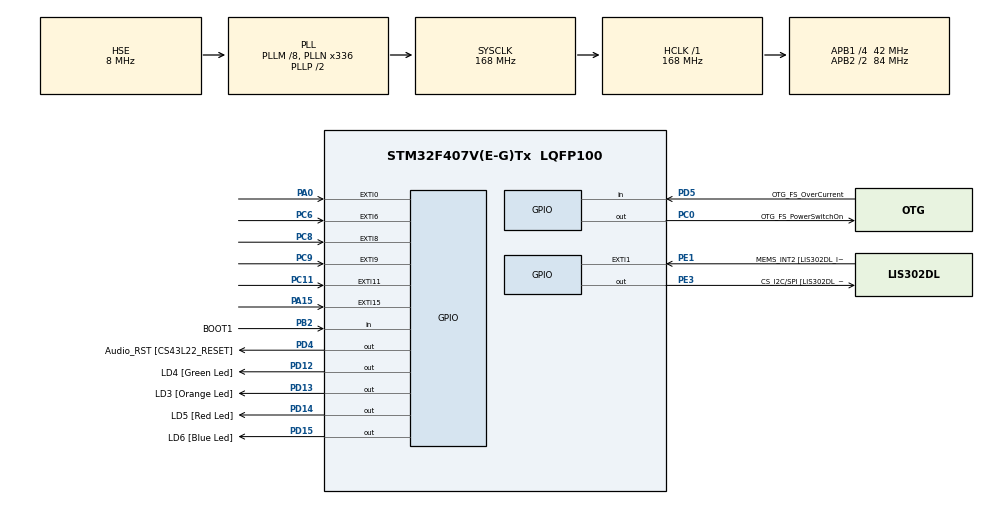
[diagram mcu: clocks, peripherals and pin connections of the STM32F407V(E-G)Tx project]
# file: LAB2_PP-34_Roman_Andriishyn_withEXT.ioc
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Mcu.Family=STM32F4
Mcu.Name=STM32F407V(E-G)Tx
Mcu.Package=LQFP100
NVIC.EXTI0_IRQn=true\:0\:0\:false\:false\:true\:true\:true\:true
NVIC.EXTI15_10_IRQn=true\:0\:0\:false\:false\:true\:true\:true\:true
NVIC.EXTI9_5_IRQn=true\:0\:0\:false\:false\:true\:true\:true\:true
NVIC.PriorityGroup=NVIC_PRIORITYGROUP_0
PA0-WKUP.Signal=GPXTI0
PA10.GPIO_Label=OTG_FS_ID
PA10.GPIO_Mode=GPIO_MODE_AF_PP
PA10.GPIO_PuPd=GPIO_NOPULL
PA10.GPIO_Speed=GPIO_SPEED_FREQ_LOW
PA10.Signal=USB_OTG_FS_ID
PA11.GPIO_Label=OTG_FS_DM
PA11.GPIO_Mode=GPIO_MODE_AF_PP
PA11.GPIO_PuPd=GPIO_NOPULL
PA11.GPIO_Speed=GPIO_SPEED_FREQ_LOW
PA11.Signal=USB_OTG_FS_DM
PA12.GPIO_Label=OTG_FS_DP
PA12.GPIO_Mode=GPIO_MODE_AF_PP
PA12.GPIO_PuPd=GPIO_NOPULL
PA12.GPIO_Speed=GPIO_SPEED_FREQ_LOW
PA12.Signal=USB_OTG_FS_DP
PA13.GPIO_Label=SWDIO
PA13.Mode=Serial_Wire
PA13.Signal=SYS_JTMS-SWDIO
PA14.GPIO_Label=SWCLK
PA14.Mode=Serial_Wire
PA14.Signal=SYS_JTCK-SWCLK
PA15.GPIO_ModeDefaultEXTI=GPIO_MODE_IT_RISING_FALLING
PA15.Signal=GPXTI15
PA4.GPIO_Label=I2S3_WS [CS43L22_LRCK]
PA4.GPIO_Mode=GPIO_MODE_AF_PP
PA4.GPIO_PuPd=GPIO_NOPULL
PA4.GPIO_Speed=GPIO_SPEED_FREQ_LOW
PA4.Signal=I2S3_WS
PA5.GPIO_Label=SPI1_SCK [LIS302DL_SCL/SPC]
PA5.GPIO_Mode=GPIO_MODE_AF_PP
PA5.GPIO_PuPd=GPIO_NOPULL
PA5.GPIO_Speed=GPIO_SPEED_FREQ_LOW
PA5.Signal=SPI1_SCK
PA6.GPIO_Label=SPI1_MISO [LIS302DL_SDO]
PA6.GPIO_Mode=GPIO_MODE_AF_PP
PA6.GPIO_PuPd=GPIO_NOPULL
PA6.GPIO_Speed=GPIO_SPEED_FREQ_LOW
PA6.Signal=SPI1_MISO
PA7.GPIO_Label=SPI1_MOSI [LIS302DL_SDA/SDI/SDO]
PA7.GPIO_Mode=GPIO_MODE_AF_PP
PA7.GPIO_PuPd=GPIO_NOPULL
PA7.GPIO_Speed=GPIO_SPEED_FREQ_LOW
PA7.Signal=SPI1_MOSI
PA9.GPIO_Label=VBUS_FS
PA9.GPIO_Mode=GPIO_MODE_INPUT
PA9.GPIO_PuPd=GPIO_NOPULL
PA9.Signal=USB_OTG_FS_VBUS
PB10.GPIO_Label=CLK_IN [MP45DT02_CLK]
PB10.GPIO_Mode=GPIO_MODE_AF_PP
PB10.GPIO_PuPd=GPIO_NOPULL
PB10.GPIO_Speed=GPIO_SPEED_FREQ_LOW
PB10.Signal=I2S2_CK
PB2.GPIO_Label=BOOT1
PB2.GPIO_Mode=GPIO_MODE_INPUT
PB2.GPIO_PuPd=GPIO_NOPULL
PB2.Signal=GPIO_Input
PB3.GPIO_Label=SWO
PB3.Signal=SYS_JTDO-SWO
PB6.GPIO_Label=Audio_SCL [CS43L22_SCL]
PB6.GPIO_Mode=GPIO_MODE_AF_OD
PB6.GPIO_PuPd=GPIO_NOPULL
PB6.GPIO_Speed=GPIO_SPEED_FREQ_LOW
PB6.Signal=I2C1_SCL
PB9.GPIO_Label=Audio_SDA [CS43L22_SDA]
PB9.GPIO_Mode=GPIO_MODE_AF_OD
PB9.GPIO_PuPd=GPIO_NOPULL
PB9.GPIO_Speed=GPIO_SPEED_FREQ_LOW
PB9.Signal=I2C1_SDA
PC0.GPIO_Label=OTG_FS_PowerSwitchOn
PC0.GPIO_PuPd=GPIO_NOPULL
PC0.GPIO_Speed=GPIO_SPEED_FREQ_LOW
PC0.PinState=GPIO_PIN_SET
PC0.Signal=GPIO_Output
PC10.GPIO_Label=I2S3_SCK [CS43L22_SCLK]
PC10.GPIO_Mode=GPIO_MODE_AF_PP
PC10.GPIO_PuPd=GPIO_NOPULL
PC10.GPIO_Speed=GPIO_SPEED_FREQ_LOW
PC10.Signal=I2S3_CK
PC11.GPIO_ModeDefaultEXTI=GPIO_MODE_IT_RISING_FALLING
PC11.Signal=GPXTI11
PC12.GPIO_Label=I2S3_SD [CS43L22_SDIN]
PC12.GPIO_Mode=GPIO_MODE_AF_PP
PC12.GPIO_PuPd=GPIO_NOPULL
PC12.GPIO_Speed=GPIO_SPEED_FREQ_LOW
PC12.Signal=I2S3_SD
PC14-OSC32_IN.GPIO_Label=PC14-OSC32_IN
PC14-OSC32_IN.Mode=LSE-External-Oscillator
PC14-OSC32_IN.Signal=RCC_OSC32_IN
PC15-OSC32_OUT.GPIO_Label=PC15-OSC32_OUT
PC15-OSC32_OUT.Mode=LSE-External-Oscillator
PC15-OSC32_OUT.Signal=RCC_OSC32_OUT
PC3.GPIO_Label=PDM_OUT [MP45DT02_DOUT]
PC3.GPIO_Mode=GPIO_MODE_AF_PP
PC3.GPIO_PuPd=GPIO_NOPULL
PC3.GPIO_Speed=GPIO_SPEED_FREQ_LOW
PC3.Signal=I2S2_SD
PC6.GPIO_ModeDefaultEXTI=GPIO_MODE_IT_RISING_FALLING
PC6.Signal=GPXTI6
PC7.GPIO_Label=I2S3_MCK [CS43L22_MCLK]
PC7.GPIO_Mode=GPIO_MODE_AF_PP
PC7.GPIO_PuPd=GPIO_NOPULL
PC7.GPIO_Speed=GPIO_SPEED_FREQ_LOW
PC7.Signal=I2S3_MCK
PC8.GPIO_ModeDefaultEXTI=GPIO_MODE_IT_RISING_FALLING
PC8.Signal=GPXTI8
PC9.GPIO_ModeDefaultEXTI=GPIO_MODE_IT_RISING_FALLING
PC9.Signal=GPXTI9
PD12.GPIO_Label=LD4 [Green Led]
PD12.GPIO_PuPd=GPIO_NOPULL
PD12.GPIO_Speed=GPIO_SPEED_FREQ_LOW
PD12.Signal=GPIO_Output
PD13.GPIO_Label=LD3 [Orange Led]
PD13.GPIO_PuPd=GPIO_NOPULL
PD13.GPIO_Speed=GPIO_SPEED_FREQ_LOW
PD13.Signal=GPIO_Output
PD14.GPIO_Label=LD5 [Red Led]
PD14.GPIO_PuPd=GPIO_NOPULL
PD14.GPIO_Speed=GPIO_SPEED_FREQ_LOW
PD14.Signal=GPIO_Output
PD15.GPIO_Label=LD6 [Blue Led]
PD15.GPIO_PuPd=GPIO_NOPULL
PD15.GPIO_Speed=GPIO_SPEED_FREQ_LOW
PD15.Signal=GPIO_Output
PD4.GPIO_Label=Audio_RST [CS43L22_RESET]
PD4.GPIO_PuPd=GPIO_NOPULL
PD4.GPIO_Speed=GPIO_SPEED_FREQ_LOW
PD4.Signal=GPIO_Output
PD5.GPIO_Label=OTG_FS_OverCurrent
PD5.GPIO_Mode=GPIO_MODE_INPUT
PD5.GPIO_PuPd=GPIO_NOPULL
PD5.Signal=GPIO_Input
PE1.GPIO_Label=MEMS_INT2 [LIS302DL_INT2]
PE1.GPIO_ModeDefaultEXTI=GPIO_MODE_EVT_RISING
PE1.GPIO_PuPd=GPIO_NOPULL
PE1.Signal=GPXTI1
PE3.GPIO_Label=CS_I2C/SPI [LIS302DL_CS_I2C/SPI]
PE3.GPIO_PuPd=GPIO_NOPULL
PE3.GPIO_Speed=GPIO_SPEED_FREQ_LOW
PE3.Signal=GPIO_Output
PH0-OSC_IN.GPIO_Label=PH0-OSC_IN
PH0-OSC_IN.Mode=HSE-External-Oscillator
PH0-OSC_IN.Signal=RCC_OSC_IN
PH1-OSC_OUT.GPIO_Label=PH1-OSC_OUT
PH1-OSC_OUT.Mode=HSE-External-Oscillator
PH1-OSC_OUT.Signal=RCC_OSC_OUT
ProjectManager.HeapSize=0x200
ProjectManager.StackSize=0x400
ProjectManager.TargetToolchain=STM32CubeIDE
RCC.48MHZClocksFreq_Value=48000000
RCC.AHBFreq_Value=168000000
RCC.APB1CLKDivider=RCC_HCLK_DIV4
RCC.APB1Freq_Value=42000000
RCC.APB1TimFreq_Value=84000000
RCC.APB2CLKDivider=RCC_HCLK_DIV2
RCC.APB2Freq_Value=84000000
RCC.APB2TimFreq_Value=168000000
RCC.CortexFreq_Value=168000000
RCC.HCLKFreq_Value=168000000
RCC.HSE_VALUE=8000000
RCC.HSI_VALUE=16000000
RCC.PLLM=8
RCC.PLLN=336
RCC.PLLQ=7
RCC.PLLSourceVirtual=RCC_PLLSOURCE_HSE
RCC.SYSCLKFreq_VALUE=168000000
RCC.SYSCLKSource=RCC_SYSCLKSOURCE_PLLCLK
RCC.VCOOutputFreq_Value=336000000
board=STM32F407G-DISC1

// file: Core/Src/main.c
/* USER CODE BEGIN Header */
/**
  ******************************************************************************
  * @file           : main.c
  * @brief          : Main program body
  ******************************************************************************
  * @attention
  *
  * Copyright (c) 2024 STMicroelectronics.
  * All rights reserved.
  *
  * This software is licensed under terms that can be found in the LICENSE file
  * in the root directory of this software component.
  * If no LICENSE file comes with this software, it is provided AS-IS.
  *
  ******************************************************************************
  */
/* USER CODE END Header */
#include "main.h"

/* USER CODE BEGIN PV */
uint8_t ledState[4] = {0, 0, 0, 0}; // Стан світлодіодів
uint8_t allLedsOn = 0; // Стан всіх світлодіодів
/* USER CODE END PV */

void SystemClock_Config(void);
static void MX_GPIO_Init(void);

int main(void)
{

  /* MCU Configuration--------------------------------------------------------*/

  /* Reset of all peripherals, Initializes the Flash interface and the Systick. */
  HAL_Init();

  /* Configure the system clock */
  SystemClock_Config();

  /* Initialize all configured peripherals */
  MX_GPIO_Init();

  /* Infinite loop */
  while (1)
  {

}
}

void SystemClock_Config(void)
{
  RCC_OscInitTypeDef RCC_OscInitStruct = {0};
  RCC_ClkInitTypeDef RCC_ClkInitStruct = {0};

  /** Configure the main internal regulator output voltage
  */
  __HAL_RCC_PWR_CLK_ENABLE();
  __HAL_PWR_VOLTAGESCALING_CONFIG(PWR_REGULATOR_VOLTAGE_SCALE1);

  /** Initializes the RCC Oscillators according to the specified parameters
  * in the RCC_OscInitTypeDef structure.
  */
  RCC_OscInitStruct.OscillatorType = RCC_OSCILLATORTYPE_HSE;
  RCC_OscInitStruct.HSEState = RCC_HSE_ON;
  RCC_OscInitStruct.PLL.PLLState = RCC_PLL_ON;
  RCC_OscInitStruct.PLL.PLLSource = RCC_PLLSOURCE_HSE;
  RCC_OscInitStruct.PLL.PLLM = 8;
  RCC_OscInitStruct.PLL.PLLN = 336;
  RCC_OscInitStruct.PLL.PLLP = RCC_PLLP_DIV2;
  RCC_OscInitStruct.PLL.PLLQ = 7;
  if (HAL_RCC_OscConfig(&RCC_OscInitStruct) != HAL_OK)
  {
    Error_Handler();
  }

  /** Initializes the CPU, AHB and APB buses clocks
  */
  RCC_ClkInitStruct.ClockType = RCC_CLOCKTYPE_HCLK|RCC_CLOCKTYPE_SYSCLK
                              |RCC_CLOCKTYPE_PCLK1|RCC_CLOCKTYPE_PCLK2;
  RCC_ClkInitStruct.SYSCLKSource = RCC_SYSCLKSOURCE_PLLCLK;
  RCC_ClkInitStruct.AHBCLKDivider = RCC_SYSCLK_DIV1;
  RCC_ClkInitStruct.APB1CLKDivider = RCC_HCLK_DIV4;
  RCC_ClkInitStruct.APB2CLKDivider = RCC_HCLK_DIV2;

  if (HAL_RCC_ClockConfig(&RCC_ClkInitStruct, FLASH_LATENCY_5) != HAL_OK)
  {
    Error_Handler();
  }
}

static void MX_GPIO_Init(void)
{
  GPIO_InitTypeDef GPIO_InitStruct = {0};

  /* GPIO Ports Clock Enable */
  __HAL_RCC_GPIOE_CLK_ENABLE();
  __HAL_RCC_GPIOC_CLK_ENABLE();
  __HAL_RCC_GPIOH_CLK_ENABLE();
  __HAL_RCC_GPIOA_CLK_ENABLE();
  __HAL_RCC_GPIOB_CLK_ENABLE();
  __HAL_RCC_GPIOD_CLK_ENABLE();

  /*Configure GPIO pin Output Level */
  HAL_GPIO_WritePin(CS_I2C_SPI_GPIO_Port, CS_I2C_SPI_Pin, GPIO_PIN_RESET);

  /*Configure GPIO pin Output Level */
  HAL_GPIO_WritePin(OTG_FS_PowerSwitchOn_GPIO_Port, OTG_FS_PowerSwitchOn_Pin, GPIO_PIN_SET);

  /*Configure GPIO pin Output Level */
  HAL_GPIO_WritePin(GPIOD, LD4_Pin|LD3_Pin|LD5_Pin|LD6_Pin
                          |Audio_RST_Pin, GPIO_PIN_RESET);

  /*Configure GPIO pin : CS_I2C_SPI_Pin */
  GPIO_InitStruct.Pin = CS_I2C_SPI_Pin;
  GPIO_InitStruct.Mode = GPIO_MODE_OUTPUT_PP;
  GPIO_InitStruct.Pull = GPIO_NOPULL;
  GPIO_InitStruct.Speed = GPIO_SPEED_FREQ_LOW;
  HAL_GPIO_Init(CS_I2C_SPI_GPIO_Port, &GPIO_InitStruct);

  /*Configure GPIO pin : OTG_FS_PowerSwitchOn_Pin */
  GPIO_InitStruct.Pin = OTG_FS_PowerSwitchOn_Pin;
  GPIO_InitStruct.Mode = GPIO_MODE_OUTPUT_PP;
  GPIO_InitStruct.Pull = GPIO_NOPULL;
  GPIO_InitStruct.Speed = GPIO_SPEED_FREQ_LOW;
  HAL_GPIO_Init(OTG_FS_PowerSwitchOn_GPIO_Port, &GPIO_InitStruct);

  /*Configure GPIO pin : PDM_OUT_Pin */
  GPIO_InitStruct.Pin = PDM_OUT_Pin;
  GPIO_InitStruct.Mode = GPIO_MODE_AF_PP;
  GPIO_InitStruct.Pull = GPIO_NOPULL;
  GPIO_InitStruct.Speed = GPIO_SPEED_FREQ_LOW;
  GPIO_InitStruct.Alternate = GPIO_AF5_SPI2;
  HAL_GPIO_Init(PDM_OUT_GPIO_Port, &GPIO_InitStruct);

  /*Configure GPIO pin : PA0 */
  GPIO_InitStruct.Pin = GPIO_PIN_0;
  GPIO_InitStruct.Mode = GPIO_MODE_IT_RISING;
  GPIO_InitStruct.Pull = GPIO_NOPULL;
  HAL_GPIO_Init(GPIOA, &GPIO_InitStruct);

  /*Configure GPIO pin : I2S3_WS_Pin */
  GPIO_InitStruct.Pin = I2S3_WS_Pin;
  GPIO_InitStruct.Mode = GPIO_MODE_AF_PP;
  GPIO_InitStruct.Pull = GPIO_NOPULL;
  GPIO_InitStruct.Speed = GPIO_SPEED_FREQ_LOW;
  GPIO_InitStruct.Alternate = GPIO_AF6_SPI3;
  HAL_GPIO_Init(I2S3_WS_GPIO_Port, &GPIO_InitStruct);

  /*Configure GPIO pins : SPI1_SCK_Pin SPI1_MISO_Pin SPI1_MOSI_Pin */
  GPIO_InitStruct.Pin = SPI1_SCK_Pin|SPI1_MISO_Pin|SPI1_MOSI_Pin;
  GPIO_InitStruct.Mode = GPIO_MODE_AF_PP;
  GPIO_InitStruct.Pull = GPIO_NOPULL;
  GPIO_InitStruct.Speed = GPIO_SPEED_FREQ_LOW;
  GPIO_InitStruct.Alternate = GPIO_AF5_SPI1;
  HAL_GPIO_Init(GPIOA, &GPIO_InitStruct);

  /*Configure GPIO pin : BOOT1_Pin */
  GPIO_InitStruct.Pin = BOOT1_Pin;
  GPIO_InitStruct.Mode = GPIO_MODE_INPUT;
  GPIO_InitStruct.Pull = GPIO_NOPULL;
  HAL_GPIO_Init(BOOT1_GPIO_Port, &GPIO_InitStruct);

  /*Configure GPIO pin : CLK_IN_Pin */
  GPIO_InitStruct.Pin = CLK_IN_Pin;
  GPIO_InitStruct.Mode = GPIO_MODE_AF_PP;
  GPIO_InitStruct.Pull = GPIO_NOPULL;
  GPIO_InitStruct.Speed = GPIO_SPEED_FREQ_LOW;
  GPIO_InitStruct.Alternate = GPIO_AF5_SPI2;
  HAL_GPIO_Init(CLK_IN_GPIO_Port, &GPIO_InitStruct);

  /*Configure GPIO pins : LD4_Pin LD3_Pin LD5_Pin LD6_Pin
                           Audio_RST_Pin */
  GPIO_InitStruct.Pin = LD4_Pin|LD3_Pin|LD5_Pin|LD6_Pin
                          |Audio_RST_Pin;
  GPIO_InitStruct.Mode = GPIO_MODE_OUTPUT_PP;
  GPIO_InitStruct.Pull = GPIO_NOPULL;
  GPIO_InitStruct.Speed = GPIO_SPEED_FREQ_LOW;
  HAL_GPIO_Init(GPIOD, &GPIO_InitStruct);

  /*Configure GPIO pins : PC6 PC8 PC9 PC11 */
  GPIO_InitStruct.Pin = GPIO_PIN_6|GPIO_PIN_8|GPIO_PIN_9|GPIO_PIN_11;
  GPIO_InitStruct.Mode = GPIO_MODE_IT_RISING_FALLING;
  GPIO_InitStruct.Pull = GPIO_NOPULL;
  HAL_GPIO_Init(GPIOC, &GPIO_InitStruct);

  /*Configure GPIO pins : I2S3_MCK_Pin I2S3_SCK_Pin I2S3_SD_Pin */
  GPIO_InitStruct.Pin = I2S3_MCK_Pin|I2S3_SCK_Pin|I2S3_SD_Pin;
  GPIO_InitStruct.Mode = GPIO_MODE_AF_PP;
  GPIO_InitStruct.Pull = GPIO_NOPULL;
  GPIO_InitStruct.Speed = GPIO_SPEED_FREQ_LOW;
  GPIO_InitStruct.Alternate = GPIO_AF6_SPI3;
  HAL_GPIO_Init(GPIOC, &GPIO_InitStruct);

  /*Configure GPIO pin : VBUS_FS_Pin */
  GPIO_InitStruct.Pin = VBUS_FS_Pin;
  GPIO_InitStruct.Mode = GPIO_MODE_INPUT;
  GPIO_InitStruct.Pull = GPIO_NOPULL;
  HAL_GPIO_Init(VBUS_FS_GPIO_Port, &GPIO_InitStruct);

  /*Configure GPIO pins : OTG_FS_ID_Pin OTG_FS_DM_Pin OTG_FS_DP_Pin */
  GPIO_InitStruct.Pin = OTG_FS_ID_Pin|OTG_FS_DM_Pin|OTG_FS_DP_Pin;
  GPIO_InitStruct.Mode = GPIO_MODE_AF_PP;
  GPIO_InitStruct.Pull = GPIO_NOPULL;
  GPIO_InitStruct.Speed = GPIO_SPEED_FREQ_LOW;
  GPIO_InitStruct.Alternate = GPIO_AF10_OTG_FS;
  HAL_GPIO_Init(GPIOA, &GPIO_InitStruct);

  /*Configure GPIO pin : PA15 */
  GPIO_InitStruct.Pin = GPIO_PIN_15;
  GPIO_InitStruct.Mode = GPIO_MODE_IT_RISING_FALLING;
  GPIO_InitStruct.Pull = GPIO_NOPULL;
  HAL_GPIO_Init(GPIOA, &GPIO_InitStruct);

  /*Configure GPIO pin : OTG_FS_OverCurrent_Pin */
  GPIO_InitStruct.Pin = OTG_FS_OverCurrent_Pin;
  GPIO_InitStruct.Mode = GPIO_MODE_INPUT;
  GPIO_InitStruct.Pull = GPIO_NOPULL;
  HAL_GPIO_Init(OTG_FS_OverCurrent_GPIO_Port, &GPIO_InitStruct);

  /*Configure GPIO pins : Audio_SCL_Pin Audio_SDA_Pin */
  GPIO_InitStruct.Pin = Audio_SCL_Pin|Audio_SDA_Pin;
  GPIO_InitStruct.Mode = GPIO_MODE_AF_OD;
  GPIO_InitStruct.Pull = GPIO_NOPULL;
  GPIO_InitStruct.Speed = GPIO_SPEED_FREQ_LOW;
  GPIO_InitStruct.Alternate = GPIO_AF4_I2C1;
  HAL_GPIO_Init(GPIOB, &GPIO_InitStruct);

  /*Configure GPIO pin : MEMS_INT2_Pin */
  GPIO_InitStruct.Pin = MEMS_INT2_Pin;
  GPIO_InitStruct.Mode = GPIO_MODE_EVT_RISING;
  GPIO_InitStruct.Pull = GPIO_NOPULL;
  HAL_GPIO_Init(MEMS_INT2_GPIO_Port, &GPIO_InitStruct);

  /* EXTI interrupt init*/
  HAL_NVIC_SetPriority(EXTI0_IRQn, 0, 0);
  HAL_NVIC_EnableIRQ(EXTI0_IRQn);

  HAL_NVIC_SetPriority(EXTI9_5_IRQn, 0, 0);
  HAL_NVIC_EnableIRQ(EXTI9_5_IRQn);

  HAL_NVIC_SetPriority(EXTI15_10_IRQn, 0, 0);
  HAL_NVIC_EnableIRQ(EXTI15_10_IRQn);

}

/* USER CODE BEGIN 4 */
void HAL_GPIO_EXTI_Callback(uint16_t GPIO_Pin)
{

	if (GPIO_Pin == GPIO_PIN_11) {
	        if (ledState[0]) {
	            HAL_GPIO_WritePin(GPIOD, GPIO_PIN_15, GPIO_PIN_RESET);
	            ledState[0] = 0;

	        } else {
	            HAL_GPIO_WritePin(GPIOD, GPIO_PIN_15, GPIO_PIN_RESET);
	            ledState[0] = 1;

	        }
	    } else if (GPIO_Pin == GPIO_PIN_8) {
	        if (ledState[1]) {
	            HAL_GPIO_WritePin(GPIOD, GPIO_PIN_14, GPIO_PIN_RESET);
	            ledState[1] = 0;

	        } else { HAL_GPIO_WritePin(GPIOD, GPIO_PIN_14, GPIO_PIN_RESET);
	            ledState[1] = 1;

	        }
	    } else if (GPIO_Pin == GPIO_PIN_9) {
	        if (ledState[2]) {
	            HAL_GPIO_WritePin(GPIOD, GPIO_PIN_13, GPIO_PIN_RESET);
	            ledState[2] = 0;

	        } else {
	            HAL_GPIO_WritePin(GPIOD, GPIO_PIN_13, GPIO_PIN_RESET);
	            ledState[2] = 1;

	        }
	    } else if (GPIO_Pin == GPIO_PIN_6) {
	        if (ledState[3]) {
	            HAL_GPIO_WritePin(GPIOD, GPIO_PIN_12, GPIO_PIN_RESET);
	            ledState[3] = 0;

	        } else { HAL_GPIO_WritePin(GPIOD, GPIO_PIN_12, GPIO_PIN_RESET);
	            ledState[3] = 1;

	        }
	    } else if (GPIO_Pin == GPIO_PIN_15) {
	        if (allLedsOn) {
	            for (int j = 0; j < 4; j++) {
	                HAL_GPIO_WritePin(GPIOD, GPIO_PIN_15 >> j, GPIO_PIN_RESET);
	                ledState[j] = 0;
	            }
	            allLedsOn = 0;

	        } else {
	            for (int j = 0; j < 4; j++) {
	                HAL_GPIO_WritePin(GPIOD, GPIO_PIN_15 >> j, GPIO_PIN_RESET);
	                ledState[j] = 1;
	            }
	            allLedsOn = 1;

	        }
	    }
}
/* USER CODE END 4 */

void Error_Handler(void)
{
  __disable_irq();
  while (1)
  {
  }
}
